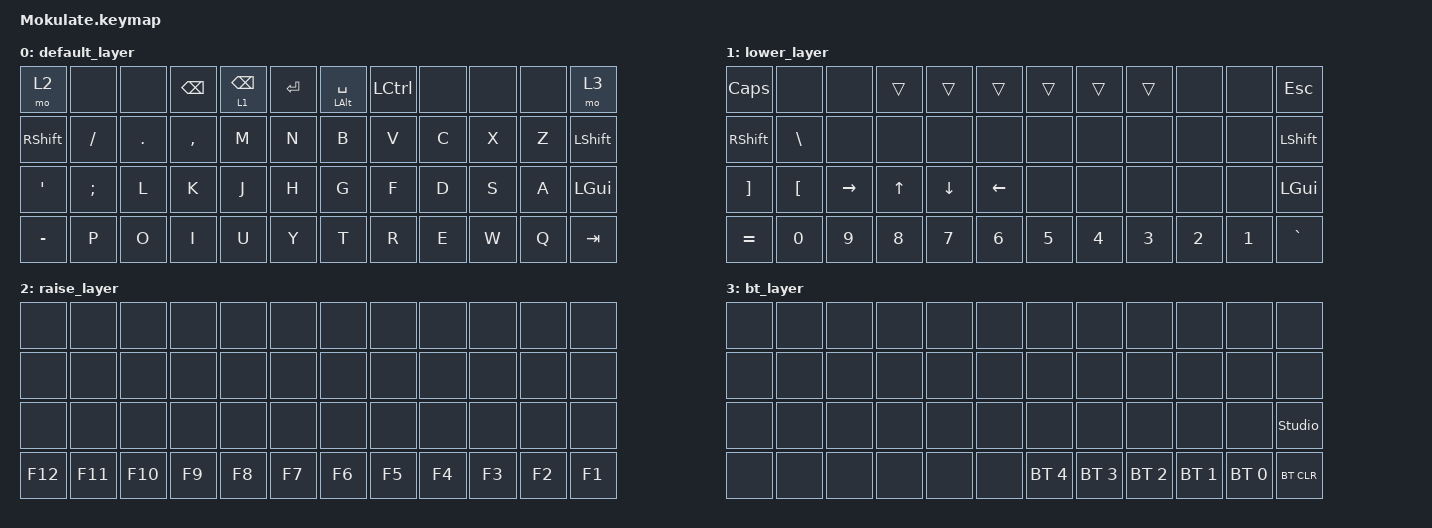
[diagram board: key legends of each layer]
#include <behaviors.dtsi>
#include <dt-bindings/zmk/keys.h>
#include <dt-bindings/zmk/bt.h>

/ {
    keymap {
        compatible = "zmk,keymap";

        default_layer {
            bindings = <
            &mo 2      &none     &none    &kp BSPC   &lt 1 BSPC  &kp RET    &mt LALT SPACE  &kp LCTRL  &none  &none  &none  &mo 3
            &kp RSHFT  &kp FSLH  &kp DOT  &kp COMMA  &kp M       &kp N      &kp B           &kp V      &kp C  &kp X  &kp Z  &kp LSHFT
            &kp SQT    &kp SEMI  &kp L    &kp K      &kp J       &kp H      &kp G           &kp F      &kp D  &kp S  &kp A  &kp LGUI
            &kp MINUS  &kp P     &kp O    &kp I      &kp U       &kp Y      &kp T           &kp R      &kp E  &kp W  &kp Q  &kp TAB
            >;
        };

        lower_layer {
            bindings = <
            &kp CAPS   &none     &none      &trans  &trans    &trans      &trans  &trans  &trans  &none   &none   &kp ESC
            &kp RSHFT  &kp BSLH  &none      &none   &none     &none       &none   &none   &none   &none   &none   &kp LSHFT
            &kp RBKT   &kp LBKT  &kp RIGHT  &kp UP  &kp DOWN  &kp LEFT    &none   &none   &none   &none   &none   &kp LGUI
            &kp EQUAL  &kp N0    &kp N9     &kp N8  &kp N7    &kp N6      &kp N5  &kp N4  &kp N3  &kp N2  &kp N1  &kp GRAVE
            >;
        };

        raise_layer {
            bindings = <
            &none    &none    &none    &none   &none   &none     &none   &none   &none   &none   &none   &none
            &none    &none    &none    &none   &none   &none     &none   &none   &none   &none   &none   &none
            &none    &none    &none    &none   &none   &none     &none   &none   &none   &none   &none   &none
            &kp F12  &kp F11  &kp F10  &kp F9  &kp F8  &kp F7    &kp F6  &kp F5  &kp F4  &kp F3  &kp F2  &kp F1
            >;
        };

        bt_layer {
            bindings = <
            &none  &none  &none  &none  &none  &none    &none         &none         &none         &none         &none         &none
            &none  &none  &none  &none  &none  &none    &none         &none         &none         &none         &none         &none
            &none  &none  &none  &none  &none  &none    &none         &none         &none         &none         &none         &studio_unlock
            &none  &none  &none  &none  &none  &none    &bt BT_SEL 4  &bt BT_SEL 3  &bt BT_SEL 2  &bt BT_SEL 1  &bt BT_SEL 0  &bt BT_CLR
            >;
        };
    };
};
